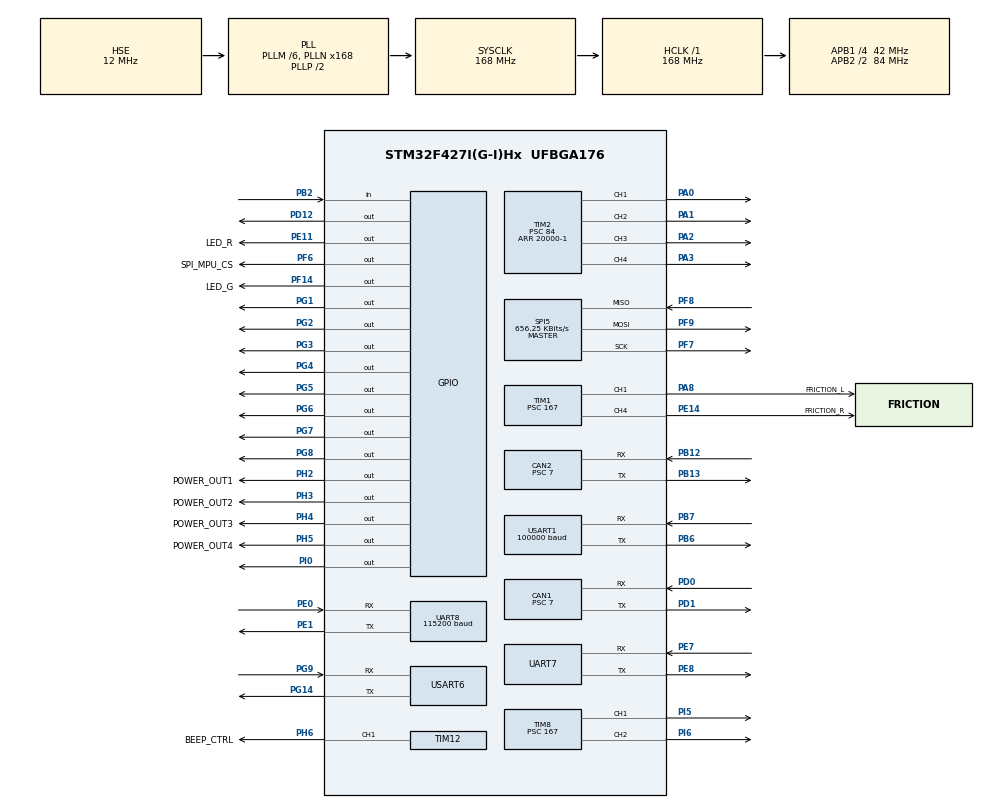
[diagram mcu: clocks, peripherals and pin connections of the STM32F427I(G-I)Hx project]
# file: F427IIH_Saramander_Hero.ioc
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CAN1.BS1=CAN_BS1_2TQ
CAN1.BS2=CAN_BS2_3TQ
CAN1.CalculateTimeQuantum=166.66666666666669
CAN1.Prescaler=7
CAN1.TXFP=ENABLE
CAN2.BS1=CAN_BS1_2TQ
CAN2.BS2=CAN_BS2_3TQ
CAN2.CalculateTimeQuantum=166.66666666666669
CAN2.Prescaler=7
CAN2.TXFP=ENABLE
Dma.Request0=USART6_RX
Dma.USART6_RX.0.Direction=DMA_PERIPH_TO_MEMORY
Dma.USART6_RX.0.FIFOMode=DMA_FIFOMODE_DISABLE
Dma.USART6_RX.0.Instance=DMA2_Stream1
Dma.USART6_RX.0.MemDataAlignment=DMA_MDATAALIGN_BYTE
Dma.USART6_RX.0.MemInc=DMA_MINC_ENABLE
Dma.USART6_RX.0.Mode=DMA_CIRCULAR
Dma.USART6_RX.0.PeriphDataAlignment=DMA_PDATAALIGN_BYTE
Dma.USART6_RX.0.PeriphInc=DMA_PINC_DISABLE
Dma.USART6_RX.0.Priority=DMA_PRIORITY_LOW
Mcu.Family=STM32F4
Mcu.Name=STM32F427I(G-I)Hx
Mcu.Package=UFBGA176
NVIC.CAN1_RX0_IRQn=true\:0\:0\:false\:false\:true\:true\:true
NVIC.CAN1_RX1_IRQn=true\:0\:0\:false\:false\:true\:true\:true
NVIC.CAN2_RX0_IRQn=true\:0\:0\:false\:false\:true\:true\:true
NVIC.CAN2_RX1_IRQn=true\:0\:0\:false\:false\:true\:true\:true
NVIC.DMA2_Stream1_IRQn=true\:0\:0\:false\:false\:true\:false\:true
NVIC.PriorityGroup=NVIC_PRIORITYGROUP_4
NVIC.TIM6_DAC_IRQn=true\:1\:0\:true\:false\:true\:true\:true
NVIC.USART1_IRQn=true\:0\:0\:false\:false\:true\:true\:true
NVIC.USART6_IRQn=true\:0\:0\:false\:false\:true\:true\:true
PA0/WKUP.Signal=S_TIM2_CH1_ETR
PA1.Signal=S_TIM2_CH2
PA13.Mode=Serial_Wire
PA13.Signal=SYS_JTMS-SWDIO
PA14.Mode=Serial_Wire
PA14.Signal=SYS_JTCK-SWCLK
PA2.Signal=S_TIM2_CH3
PA3.Signal=S_TIM2_CH4
PA8.GPIO_Label=FRICTION_L
PA8.Signal=S_TIM1_CH1
PB12.Mode=Slave
PB12.Signal=CAN2_RX
PB13.Mode=Slave
PB13.Signal=CAN2_TX
PB2/BOOT1.Signal=GPIO_Input
PB6.Mode=Asynchronous
PB6.Signal=USART1_TX
PB7.Mode=Asynchronous
PB7.Signal=USART1_RX
PD0.Mode=Master
PD0.Signal=CAN1_RX
PD1.Mode=Master
PD1.Signal=CAN1_TX
PD12.Signal=GPIO_Output
PE0.Mode=Asynchronous
PE0.Signal=UART8_RX
PE1.Mode=Asynchronous
PE1.Signal=UART8_TX
PE11.GPIO_Label=LED_R
PE11.Signal=GPIO_Output
PE14.GPIO_Label=FRICTION_R
PE14.Signal=S_TIM1_CH4
PE7.Mode=Asynchronous
PE7.Signal=UART7_RX
PE8.Mode=Asynchronous
PE8.Signal=UART7_TX
PF14.GPIO_Label=LED_G
PF14.Signal=GPIO_Output
PF6.GPIO_Label=SPI_MPU_CS
PF6.Signal=GPIO_Output
PF7.Mode=Full_Duplex_Master
PF7.Signal=SPI5_SCK
PF8.Mode=Full_Duplex_Master
PF8.Signal=SPI5_MISO
PF9.Mode=Full_Duplex_Master
PF9.Signal=SPI5_MOSI
PG1.Signal=GPIO_Output
PG14.Mode=Asynchronous
PG14.Signal=USART6_TX
PG2.Signal=GPIO_Output
PG3.Signal=GPIO_Output
PG4.Signal=GPIO_Output
PG5.Signal=GPIO_Output
PG6.Signal=GPIO_Output
PG7.Signal=GPIO_Output
PG8.Signal=GPIO_Output
PG9.Mode=Asynchronous
PG9.Signal=USART6_RX
PH0/OSC_IN.Mode=HSE-External-Oscillator
PH0/OSC_IN.Signal=RCC_OSC_IN
PH1/OSC_OUT.Mode=HSE-External-Oscillator
PH1/OSC_OUT.Signal=RCC_OSC_OUT
PH2.GPIO_Label=POWER_OUT1
PH2.Signal=GPIO_Output
PH3.GPIO_Label=POWER_OUT2
PH3.Signal=GPIO_Output
PH4.GPIO_Label=POWER_OUT3
PH4.Signal=GPIO_Output
PH5.GPIO_Label=POWER_OUT4
PH5.Signal=GPIO_Output
PH6.GPIO_Label=BEEP_CTRL
PH6.Signal=S_TIM12_CH1
PI0.Signal=GPIO_Output
PI5.Signal=S_TIM8_CH1
PI6.Signal=S_TIM8_CH2
ProjectManager.HeapSize=0x200
ProjectManager.StackSize=0x400
ProjectManager.TargetToolchain=STM32CubeIDE
RCC.48MHZClocksFreq_Value=84000000
RCC.AHBFreq_Value=168000000
RCC.APB1CLKDivider=RCC_HCLK_DIV4
RCC.APB1Freq_Value=42000000
RCC.APB1TimFreq_Value=84000000
RCC.APB2CLKDivider=RCC_HCLK_DIV2
RCC.APB2Freq_Value=84000000
RCC.APB2TimFreq_Value=168000000
RCC.CortexFreq_Value=168000000
RCC.HCLKFreq_Value=168000000
RCC.HSE_VALUE=12000000
RCC.HSI_VALUE=16000000
RCC.LSE_VALUE=32768
RCC.PLLM=6
RCC.PLLN=168
RCC.PLLSourceVirtual=RCC_PLLSOURCE_HSE
RCC.SYSCLKFreq_VALUE=168000000
RCC.SYSCLKSource=RCC_SYSCLKSOURCE_PLLCLK
RCC.VCOOutputFreq_Value=336000000
SH.S_TIM12_CH1.0=TIM12_CH1,PWM Generation1 CH1
SH.S_TIM1_CH1.0=TIM1_CH1,PWM Generation1 CH1
SH.S_TIM1_CH4.0=TIM1_CH4,PWM Generation4 CH4
SH.S_TIM2_CH1_ETR.0=TIM2_CH1,PWM Generation1 CH1
SH.S_TIM2_CH2.0=TIM2_CH2,PWM Generation2 CH2
SH.S_TIM2_CH3.0=TIM2_CH3,PWM Generation3 CH3
SH.S_TIM2_CH4.0=TIM2_CH4,PWM Generation4 CH4
SH.S_TIM8_CH1.0=TIM8_CH1,PWM Generation1 CH1
SH.S_TIM8_CH2.0=TIM8_CH2,PWM Generation2 CH2
SPI5.BaudRatePrescaler=SPI_BAUDRATEPRESCALER_128
SPI5.CalculateBaudRate=656.25 KBits/s
SPI5.Direction=SPI_DIRECTION_2LINES
SPI5.Mode=SPI_MODE_MASTER
SPI5.VirtualType=VM_MASTER
TIM1.Channel-PWM\ Generation1\ CH1=TIM_CHANNEL_1
TIM1.Channel-PWM\ Generation4\ CH4=TIM_CHANNEL_4
TIM1.Period=20000-1
TIM1.Prescaler=167
TIM1.Pulse-PWM\ Generation1\ CH1=1000
TIM1.Pulse-PWM\ Generation4\ CH4=1000
TIM12.Channel-PWM\ Generation1\ CH1=TIM_CHANNEL_1
TIM12.Period=20000-1
TIM12.Prescaler=83
TIM2.Channel-PWM\ Generation1\ CH1=TIM_CHANNEL_1
TIM2.Channel-PWM\ Generation2\ CH2=TIM_CHANNEL_2
TIM2.Channel-PWM\ Generation3\ CH3=TIM_CHANNEL_3
TIM2.Channel-PWM\ Generation4\ CH4=TIM_CHANNEL_4
TIM2.Period=20000-1
TIM2.Prescaler=84
TIM6.Period=16800
TIM6.Prescaler=5-1
TIM8.Channel-PWM\ Generation1\ CH1=TIM_CHANNEL_1
TIM8.Channel-PWM\ Generation2\ CH2=TIM_CHANNEL_2
TIM8.Period=20000-1
TIM8.Prescaler=167
UART7.VirtualMode=Asynchronous
UART8.BaudRate=115200
UART8.VirtualMode=Asynchronous
UART8.WordLength=WORDLENGTH_8B
USART1.BaudRate=100000
USART1.VirtualMode=VM_ASYNC
USART6.VirtualMode=VM_ASYNC
VP_TIM6_VS_ClockSourceINT.Mode=Enable_Timer
board=custom

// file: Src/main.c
/* USER CODE BEGIN Header */
/**
  ******************************************************************************
  * @file           : main.c
  * @brief          : Main program body
  ******************************************************************************
  * @attention
  *
  * <h2><center>&copy; Copyright (c) 2019 STMicroelectronics.
  * All rights reserved.</center></h2>
  *
  * This software component is licensed by ST under BSD 3-Clause license,
  * the "License"; You may not use this file except in compliance with the
  * License. You may obtain a copy of the License at:
  *                        opensource.org/licenses/BSD-3-Clause
  *
  ******************************************************************************
  */
/* USER CODE END Header */

#include "main.h"
#include "can.h"
#include "dma.h"
#include "spi.h"
#include "tim.h"
#include "usart.h"
#include "gpio.h"

/* USER CODE BEGIN Includes */
#include "managemet.h"
/* USER CODE END Includes */

/* USER CODE BEGIN PD */

const int yaw_MAX=70;
const int yaw_magnification=20;
const int pich_MAX=30;
const int pich_magnification=50;
/* USER CODE END PD */

/* USER CODE BEGIN PV */
/* Private variables ---------------------------------------------------------*/
#ifdef __GNUC__
#define PUTCHAR_PROTOTYPE int __io_putchar(int ch)
#else
#define PUTCHAR_PROTOTYPE int fputc(int ch, FILE *f)
#endif /* __GNUC__ */
void __io_putchar(uint8_t ch) {
HAL_UART_Transmit(&huart7, &ch, 1, 1);
}

/* USER CODE END PV */

void SystemClock_Config(void);
/* USER CODE BEGIN PFP */
/* Private function prototypes -----------------------------------------------*/
void timerTask();
void initPID();
void initMecanum();
void driveWheelTask();
void initFriction();
void initLoadPID();
void Gimbal_Task();
void fire_Task();
void fire_task_push();
void fire_task_open();
/* USER CODE END PFP */

/* USER CODE BEGIN 0 */
long map(long x, long in_min, long in_max, long out_min, long out_max) {
	  return (x - in_min) * (out_max - out_min) / (in_max - in_min) + out_min;
}
uint8_t cnt_tim,cnt_tim_fire,cnt_tim_task,fire,cnt_time_main;
uint16_t cnt_tim_omega,feed_forward_param;
uint16_t sw1_cnt=1220;
uint8_t rc_SW1_temp,rc_W_temp;
uint32_t RC_time,cnt_tim_fire_task;
uint8_t customdataPacket[28];
uint8_t data_data_form_JetsonNANO_temp;
uint16_t delay_auto;
const float yaw_offset = 60.0;
/* USER CODE END 0 */

int main(void)
{

  /* MCU Configuration--------------------------------------------------------*/

  /* Reset of all peripherals, Initializes the Flash interface and the Systick. */
  HAL_Init();

  /* Configure the system clock */
  SystemClock_Config();

  /* USER CODE BEGIN SysInit */

  //MX_UART7   UART_print
  //MX_UART8   Judge
  //MX_USART1  RC
  //MX_USART6  JetsonNANO
  /* USER CODE END SysInit */

  /* Initialize all configured peripherals */
  MX_GPIO_Init();
  MX_DMA_Init();
  MX_CAN1_Init();
  MX_CAN2_Init();
  MX_SPI5_Init();
  MX_TIM1_Init();
  MX_TIM6_Init();
  MX_TIM12_Init();
  MX_UART7_Init();
  MX_UART8_Init();
  MX_USART1_UART_Init();
  MX_USART6_UART_Init();
  MX_TIM2_Init();
  MX_TIM8_Init();
  /* USER CODE BEGIN 2 */
  HAL_UART_Receive_IT(&huart1, rcData, 18);
  HAL_UART_Receive_IT(&huart6,(uint8_t *)Rxbuf_form_JetsonNANO,Rxbufsize_from_JetsonNANO);
  HAL_GPIO_WritePin(GPIOE, GPIO_PIN_11, 0);
  HAL_GPIO_WritePin(LED_G_GPIO_Port, LED_G_Pin, 1);
  HAL_GPIO_WritePin(POWER_OUT1_GPIO_Port, POWER_OUT1_Pin, 1);
  HAL_GPIO_WritePin(POWER_OUT2_GPIO_Port, POWER_OUT2_Pin, 1);
  HAL_GPIO_WritePin(POWER_OUT3_GPIO_Port, POWER_OUT3_Pin, 1);
  HAL_GPIO_WritePin(POWER_OUT4_GPIO_Port, POWER_OUT4_Pin, 1);
  HAL_Delay(1000);
  HAL_GPIO_WritePin(GPIOG, GPIO_PIN_1, 1);
  HAL_GPIO_WritePin(GPIOG, GPIO_PIN_2, 1);
  HAL_GPIO_WritePin(GPIOG, GPIO_PIN_3, 1);
  HAL_GPIO_WritePin(GPIOG, GPIO_PIN_4, 1);
  HAL_GPIO_WritePin(GPIOG, GPIO_PIN_5, 1);
  HAL_GPIO_WritePin(GPIOG, GPIO_PIN_6, 1);
  HAL_GPIO_WritePin(GPIOG, GPIO_PIN_7, 1);
  HAL_GPIO_WritePin(GPIOG, GPIO_PIN_8, 1);
  HAL_GPIO_WritePin(GPIOD, GPIO_PIN_12, 0);
  sConfigOC.Pulse = map(90,0,180,500,2500);
  HAL_TIM_PWM_ConfigChannel(&htim2, &sConfigOC, TIM_CHANNEL_1);
  HAL_TIM_PWM_Start(&htim2, TIM_CHANNEL_1);
  sConfigOC.Pulse = map(90,0,180,500,2500);
  HAL_TIM_PWM_ConfigChannel(&htim2, &sConfigOC, TIM_CHANNEL_2);
  HAL_TIM_PWM_Start(&htim2, TIM_CHANNEL_2);
  sConfigOC.Pulse = map(139,0,180,500,2500);
  HAL_TIM_PWM_ConfigChannel(&htim2, &sConfigOC, TIM_CHANNEL_3);
  HAL_TIM_PWM_Start(&htim2, TIM_CHANNEL_3);
  sConfigOC.Pulse = map(139,0,180,500,2500);
  HAL_TIM_PWM_ConfigChannel(&htim2, &sConfigOC, TIM_CHANNEL_4);
  HAL_TIM_PWM_Start(&htim2, TIM_CHANNEL_4);

  mpu_device_init();
  mpu_offset_call();

  HAL_TIM_PWM_Start(&htim8, TIM_CHANNEL_1); // friction wheel
  HAL_TIM_PWM_Start(&htim8, TIM_CHANNEL_2);
  initFriction();
  initPID();
  initLoadPID();
  initCanFilter();
  initMecanum();
  HAL_TIM_Base_Start_IT(&htim6);
  setbuf(stdout, NULL);
  HAL_CAN_Start(&hcan1);
  HAL_CAN_Start(&hcan2);
  HAL_CAN_ActivateNotification(&hcan1, CAN_IT_RX_FIFO0_MSG_PENDING);
  HAL_CAN_ActivateNotification(&hcan2, CAN_IT_RX_FIFO0_MSG_PENDING);
  HAL_GPIO_WritePin(GPIOE, GPIO_PIN_11, 1);

  CustomData_init(11,0x0111);  //blue-1
  //CustomData_init(1,0x0101);  //red-1

  IMU_pich_set=imu_attitude.pitch;
  IMU_yaw_set=imu_attitude.yaw;
  IMU_rol_set=imu_attitude.roll;
  PC_mouse_x=0;
  PC_mouse_y=0;
  HAL_UART_Init(&huart6);

  /* USER CODE END 2 */

  /* Infinite loop */
  while (1)
  {

    /* USER CODE BEGIN 3 */

	  if(HAL_GPIO_ReadPin(GPIOB, GPIO_PIN_2)==1 || rc.sw1==2 || rc.key_Ctrl==1){
		  IMU_pich_set=imu_attitude.pitch;
		  IMU_yaw_set=imu_attitude.yaw;
		  IMU_rol_set=imu_attitude.roll;
	  }

	  //printf(" Roll:%8.3lf  Pitch:%8.3lf  Yaw:%8.3lf", IMU_rol, IMU_pich, IMU_yaw);
	   //printf(" Roll_set:%8.3lf  Pitch_set:%8.3lf  Yaw_set:%8.3lf", IMU_rol_set, IMU_pich_set, IMU_yaw_set);
	  printf(" target_Pitch:%d target_Yaw:%d now_Pit:%d now_Yaw:%d", target_pich,target_yaw,pich_now,yaw_now);
	   //printf(" RC_time=%d",(int)RC_time);
	   //printf("ch1=%d ch2=%d ch3=%d ch4=%d ch5=%d sw1=%d sw2=%d m_x=%d m_y=%d m_z=%d m_l=%d m_r=%d W=%d S=%d A=%d D=%d Q=%d E=%d Shift=%d Ctrl=%d"
	  //	 ,rc.ch1,rc.ch2,rc.ch3,rc.ch4,rc.ch5,rc.sw1,rc.sw2,rc.mouse_x, rc.mouse_y, rc.mouse_z,rc.mouse_press_l,rc.mouse_press_r
	//		 ,rc.key_W,rc.key_S,rc.key_A,rc.key_D,rc.key_Q,rc.key_E,rc.key_Shift,rc.key_Ctrl);
	  //printf("PC_mouse_x=%d PC_mouse_y=%d",PC_mouse_x,PC_mouse_y);
	  //printf("M0=%d M1=%d M2=%d M3=%d",wheelFdb[0].rpm,wheelFdb[1].rpm,wheelFdb[2].rpm,wheelFdb[3].rpm);
	  //printf(" ch5=%d vw=%f cnt=%d",rc.ch5,mecanum.speed.vw,cnt_tim_omega);
	  //printf(" target_yaw=%d angle=%f",target_yaw,(float)((gimbalYawFdb.angle-4096.0)/8191.0*360.0));
	  //printf("torque M0=%8.3lf M1=%8.3lf M2=%8.3lf M3=%8.3lf",(float)wheelFdb[0].torque/16384.0*20.0,(float)wheelFdb[1].torque/16384.0*20.0
	   // 			  ,(float)wheelFdb[2].torque/16384.0*20.0,(float)wheelFdb[3].torque/16384.0*20.0);
	   //printf(" =%d",(int)cnt_time_main);
	   printf(" X=%d Y=%d cnt=%d" ,target_X,target_Y,cnt_tartget);
	   printf(" 0=%x 1=%x 2=%x 3=%x 4=%d 5=%d" , data_form_JetsonNANO[0],data_form_JetsonNANO[1],data_form_JetsonNANO[2],data_form_JetsonNANO[3],data_form_JetsonNANO[4],data_form_JetsonNANO[5]);
	   printf("\r\n");

		if(cnt_time_main>=10){
		    setData1(IMU_pich);
		    setData2(IMU_yaw);
		    setData3((float)yaw_now);
		    	 if(yaw_now>=-75 && yaw_now<=-55){setMasks(0b011111);}
		    else if(yaw_now>=-55 && yaw_now<=-45){setMasks(0b001111);}
		    else if(yaw_now>=-45 && yaw_now<=-35){setMasks(0b101111);}
		    else if(yaw_now>=-35 && yaw_now<=-20){setMasks(0b100111);}
		    else if(yaw_now>=-20 && yaw_now<=-10){setMasks(0b110111);}
		    else if(yaw_now>=-10 && yaw_now<= 10){setMasks(0b110011);}
		    else if(yaw_now>= 10 && yaw_now<= 20){setMasks(0b111011);}
		    else if(yaw_now>= 20 && yaw_now<= 35){setMasks(0b111001);}
		    else if(yaw_now>= 35 && yaw_now<= 45){setMasks(0b111101);}
		    else if(yaw_now>= 45 && yaw_now<= 55){setMasks(0b111100);}
		    else if(yaw_now>= 55 && yaw_now<= 75){setMasks(0b111110);}
		    else  								 {setMasks(0b000000);}
		    makeCustomDataPacket(customdataPacket);
		    HAL_UART_Transmit(&huart8, (uint8_t *)customdataPacket, 28,100);
			cnt_time_main=0;
		}
		else{
			cnt_time_main++;
		}

		target_X=((data_form_JetsonNANO[0]<<8) | data_form_JetsonNANO[1])- 32767;
		target_Y=((data_form_JetsonNANO[2]<<8) | data_form_JetsonNANO[3])- 32767;
		cnt_tartget=data_form_JetsonNANO[4];

  }
  /* USER CODE END 3 */
}

void SystemClock_Config(void)
{
  RCC_OscInitTypeDef RCC_OscInitStruct = {0};
  RCC_ClkInitTypeDef RCC_ClkInitStruct = {0};

  /** Configure the main internal regulator output voltage
  */
  __HAL_RCC_PWR_CLK_ENABLE();
  __HAL_PWR_VOLTAGESCALING_CONFIG(PWR_REGULATOR_VOLTAGE_SCALE1);
  /** Initializes the CPU, AHB and APB busses clocks
  */
  RCC_OscInitStruct.OscillatorType = RCC_OSCILLATORTYPE_HSE;
  RCC_OscInitStruct.HSEState = RCC_HSE_ON;
  RCC_OscInitStruct.PLL.PLLState = RCC_PLL_ON;
  RCC_OscInitStruct.PLL.PLLSource = RCC_PLLSOURCE_HSE;
  RCC_OscInitStruct.PLL.PLLM = 6;
  RCC_OscInitStruct.PLL.PLLN = 168;
  RCC_OscInitStruct.PLL.PLLP = RCC_PLLP_DIV2;
  RCC_OscInitStruct.PLL.PLLQ = 4;
  if (HAL_RCC_OscConfig(&RCC_OscInitStruct) != HAL_OK)
  {
    Error_Handler();
  }
  /** Initializes the CPU, AHB and APB busses clocks
  */
  RCC_ClkInitStruct.ClockType = RCC_CLOCKTYPE_HCLK|RCC_CLOCKTYPE_SYSCLK
                              |RCC_CLOCKTYPE_PCLK1|RCC_CLOCKTYPE_PCLK2;
  RCC_ClkInitStruct.SYSCLKSource = RCC_SYSCLKSOURCE_PLLCLK;
  RCC_ClkInitStruct.AHBCLKDivider = RCC_SYSCLK_DIV1;
  RCC_ClkInitStruct.APB1CLKDivider = RCC_HCLK_DIV4;
  RCC_ClkInitStruct.APB2CLKDivider = RCC_HCLK_DIV2;

  if (HAL_RCC_ClockConfig(&RCC_ClkInitStruct, FLASH_LATENCY_5) != HAL_OK)
  {
    Error_Handler();
  }
}

/* USER CODE BEGIN 4 */
void HAL_TIM_PeriodElapsedCallback(TIM_HandleTypeDef *htim) {
	if (htim->Instance == htim6.Instance) {
		//1kHz
		mpu_get_data();
		imu_sensor.ax=imu.ax;
		imu_sensor.ay=imu.ay;
		imu_sensor.az=imu.az;
		imu_sensor.mx=imu.mx;
		imu_sensor.my=imu.my;
		imu_sensor.mz=imu.mz;
		imu_sensor.wx=imu.wx;
		imu_sensor.wy=imu.wy;
		imu_sensor.wz=imu.wz;
		madgwick_ahrs_updateIMU(&imu_sensor, &imu_attitude);

		IMU_pich=(imu_attitude.pitch)-IMU_pich_set;
		if(IMU_pich>  90.0){IMU_pich=IMU_pich-180;}
		if(IMU_pich< -90.0){IMU_pich=IMU_pich+180;}
		IMU_yaw=(imu_attitude.yaw)-IMU_yaw_set;
		if(IMU_yaw>  180.0){IMU_yaw=IMU_yaw-360;}
		if(IMU_yaw< -180.0){IMU_yaw=IMU_yaw+360;}
		IMU_rol=(imu_attitude.roll)-IMU_rol_set;
		if(IMU_rol>  180.0){IMU_rol=IMU_rol-360;}
		if(IMU_rol< -180.0){IMU_rol=IMU_rol+360;}

		if(cnt_tim_task>1){
		//500Hz
		timerTask();
		cnt_tim_task=0;
		}
		cnt_tim_task++;

		if(cnt_tim>40){
			HAL_GPIO_TogglePin(LED_G_GPIO_Port, LED_G_Pin);
			cnt_tim=0;
		}
		cnt_tim++;

		RC_time++;
		if(RC_time>20000){
			NVIC_SystemReset();
		}
	}
}

void HAL_UART_RxCpltCallback(UART_HandleTypeDef *UartHandle) {
	if (UartHandle->Instance == huart1.Instance) {	//Propo-receive Interrupts
		HAL_UART_Receive_IT(&huart1, rcData, 18);
		HAL_GPIO_TogglePin(GPIOG,GPIO_PIN_1);
		rc.ch1 = (((rcData[1] & 0x07) << 8) | rcData[0]);
		rc.ch1 -= 1024;
		rc.ch2 = (((rcData[2] & 0x3F) << 5) | (rcData[1] >> 3));
		rc.ch2 -= 1024;
		rc.ch3 = (((rcData[4] & 0x01) << 10) | (rcData[3] << 2) | (rcData[2] >> 6));
		rc.ch3 -= 1024;
		rc.ch4 = (((rcData[5] & 0x0F) << 7) | (rcData[4] >> 1));
		rc.ch4 -= 1024;
		rc.ch5 = (rcData[17]<<8) | rcData[16];
		rc.ch5 = 1024-rc.ch5;
		rc.sw1 = ((rcData[5] & 0x30) >> 4);
		rc.sw2 = ((rcData[5] & 0xC0) >> 6);
		rc.mouse_x = ((int16_t)rcData[6]) | ((int16_t)rcData[7] << 8);
		rc.mouse_y = ((int16_t)rcData[8]) | ((int16_t)rcData[9] << 8);
		rc.mouse_z = ((int16_t)rcData[10]) | ((int16_t)rcData[11] << 8);
		rc.mouse_press_r = rcData[12];
		rc.mouse_press_l = rcData[13];
		rc.key_v = ((int16_t)rcData[14]);
		rc.key_W =     (0b0000000000000001 & rc.key_v);
		rc.key_S =     (0b0000000000000010 & rc.key_v)>>1;
		rc.key_A =     (0b0000000000000100 & rc.key_v)>>2;
		rc.key_D =     (0b0000000000001000 & rc.key_v)>>3;
		rc.key_Shift = (0b0000000000010000 & rc.key_v)>>4;
		rc.key_Ctrl =  (0b0000000000100000 & rc.key_v)>>5;
		rc.key_Q =     (0b0000000001000000 & rc.key_v)>>6;
		rc.key_E =     (0b0000000010000000 & rc.key_v)>>7;

		if ((abs(rc.ch5) > 660) ||(abs(rc.ch3) > 660) ||(abs(rc.ch4) > 660)){
			NVIC_SystemReset();
		  }
		else{
			 RC_time=0;
		}

		if(rc.sw2==2|| rc.key_E==1){
			PC_mouse_x=0;
			PC_mouse_y=0;
		}
		else{
			if(rc.mouse_press_l==1){
			PC_mouse_x=PC_mouse_x+rc.mouse_x*(-1);
			PC_mouse_y=PC_mouse_y+rc.mouse_y;
			if(PC_mouse_y > pich_MAX*pich_magnification){	PC_mouse_y = pich_MAX*pich_magnification;}
			if(PC_mouse_y < -1*pich_MAX*pich_magnification){PC_mouse_y = -1*pich_MAX*pich_magnification;}
			if(PC_mouse_x > yaw_MAX*yaw_magnification){		PC_mouse_x = yaw_MAX*yaw_magnification;}
			if(PC_mouse_x < -1*yaw_MAX*yaw_magnification){	PC_mouse_x = -1*yaw_MAX*yaw_magnification;}
			}
		}

	}

	if (UartHandle->Instance == huart6.Instance) {
		uint8_t j = 0;
			while (Rxbuf_form_JetsonNANO[j] != 253 &&  j<sizeof(Rxbuf_form_JetsonNANO)) {
				j++;
			}
			if(j>=sizeof(Rxbuf_form_JetsonNANO)){
				for(uint8_t k=0;k<(sizeof(data_form_JetsonNANO));k++){
					data_form_JetsonNANO[k]=0;
				}
			}
			else{
				for (uint8_t k = 0; k < sizeof(data_form_JetsonNANO); k++) {
					if ((j + k) >= sizeof(data_form_JetsonNANO)) {
						data_form_JetsonNANO[k] = Rxbuf_form_JetsonNANO[k - (sizeof(data_form_JetsonNANO) - j)];
					}
					else {
						data_form_JetsonNANO[k] = Rxbuf_form_JetsonNANO[j + k + 1];
					}
				}
			}
			if(data_data_form_JetsonNANO_temp!=data_form_JetsonNANO[Rxbufsize_from_JetsonNANO-2]){
				connect_jetsonnano=1;
				HAL_GPIO_WritePin(GPIOG, GPIO_PIN_2, 1);
			}
			else{
				connect_jetsonnano=0;
				HAL_GPIO_WritePin(GPIOG, GPIO_PIN_2, 0);
				for(uint8_t k=0;k<(sizeof(data_form_JetsonNANO));k++){
					data_form_JetsonNANO[k]=0;
				}
			}
			data_data_form_JetsonNANO_temp=data_form_JetsonNANO[Rxbufsize_from_JetsonNANO-2];
	}

	HAL_UART_Receive_IT(&huart6,(uint8_t *)Rxbuf_form_JetsonNANO,Rxbufsize_from_JetsonNANO);
}

//can fifo0 receive interrupt
void HAL_CAN_RxFifo0MsgPendingCallback(CAN_HandleTypeDef *hcan) {
	/* Get RX message */
	if (hcan->Instance == hcan2.Instance) {// can2 bus receive interrupt
		HAL_CAN_GetRxMessage(hcan, CAN_RX_FIFO0, &canRxHeader, canRxData);
		//check ESC identifier
		int id = canRxHeader.StdId - 513;

		wheelFdb[id].angle = canRxData[0] * 256 + canRxData[1];
		wheelFdb[id].rpm = canRxData[2] * 256 + canRxData[3];
		wheelFdb[id].torque = canRxData[4] * 256 + canRxData[5];
		wheelFdb[id].temp = canRxData[6];
		wheelFdb[id].omg = 6.28318530718 * (wheelFdb[id].rpm) / 1140.0;
	}
	if (hcan->Instance == hcan1.Instance) {// can1 bus receive interrupt
		HAL_CAN_GetRxMessage(hcan, CAN_RX_FIFO0, &canRxHeader, canRxData);
		motor_fdb *fdb = 0;
		switch (canRxHeader.StdId) {
		case 0x205:
			fdb = &gimbalYawFdb;
			break;
		case 0x206:
			fdb = &gimbalPitchFdb;
			break;
		case 0x207:
			fdb = &loadMotorFdb;
			break;
		}
		fdb->angle = canRxData[0] * 256 + canRxData[1];
		fdb->rpm = canRxData[2] * 256 + canRxData[3];
		fdb->torque = canRxData[4] * 256 + canRxData[5];
		fdb->temp = canRxData[6];
		fdb->omg = 6.28318530718 * (fdb->rpm) / 1140.0;
	}
}

void driveWheelTask() {
	float vx_temp,vy_temp;
    float MAX_CHASSIS_VX_SPEED_calc,MAX_CHASSIS_VY_SPEED_calc,MAX_CHASSIS_VW_SPEED_calc;
	float torque_sum=0.0;

	MAX_CHASSIS_VX_SPEED_calc= MAX_CHASSIS_VX_SPEED;
	MAX_CHASSIS_VY_SPEED_calc= MAX_CHASSIS_VY_SPEED;
    MAX_CHASSIS_VW_SPEED_calc= MAX_CHASSIS_VW_SPEED;

    torque_sum = fabs((float)wheelFdb[0].torque/16384.0*20.0)+fabs((float)wheelFdb[1].torque/16384.0*20.0)
    		    +fabs((float)wheelFdb[2].torque/16384.0*20.0)+fabs((float)wheelFdb[3].torque/16384.0*20.0);

	if(rc.sw2==1|| rc.key_W==1){
		if(cnt_tim_omega<=100)     {mecanum.speed.vw= -(float)(rc.ch5-290.0)/660.0*MAX_CHASSIS_VW_SPEED;feed_forward_param=-0;}
		else if(cnt_tim_omega<=200){mecanum.speed.vw= -(float)(rc.ch5-260.0)/660.0*MAX_CHASSIS_VW_SPEED;feed_forward_param=-0;}
		else if(cnt_tim_omega<=249){mecanum.speed.vw= -(float)(rc.ch5-100.0)/660.0*MAX_CHASSIS_VW_SPEED;feed_forward_param=-0;}
		else if(cnt_tim_omega==250){mecanum.speed.vw= -(float)(rc.ch5-  0.0)/660.0*MAX_CHASSIS_VW_SPEED;feed_forward_param= 0;}
		else if(cnt_tim_omega<=300){mecanum.speed.vw= -(float)(rc.ch5+100.0)/660.0*MAX_CHASSIS_VW_SPEED;feed_forward_param= 0;}
		else if(cnt_tim_omega<=400){mecanum.speed.vw= -(float)(rc.ch5+260.0)/660.0*MAX_CHASSIS_VW_SPEED;feed_forward_param= 0;}
		else if(cnt_tim_omega<=500){mecanum.speed.vw= -(float)(rc.ch5+290.0)/660.0*MAX_CHASSIS_VW_SPEED;feed_forward_param= 0;}
		else if(cnt_tim_omega<=600){mecanum.speed.vw= -(float)(rc.ch5+290.0)/660.0*MAX_CHASSIS_VW_SPEED;feed_forward_param= 0;}
		else if(cnt_tim_omega<=700){mecanum.speed.vw= -(float)(rc.ch5+260.0)/660.0*MAX_CHASSIS_VW_SPEED;feed_forward_param= 0;}
		else if(cnt_tim_omega<=749){mecanum.speed.vw= -(float)(rc.ch5+100.0)/660.0*MAX_CHASSIS_VW_SPEED;feed_forward_param= 0;}
		else if(cnt_tim_omega==750){mecanum.speed.vw= -(float)(rc.ch5+  0.0)/660.0*MAX_CHASSIS_VW_SPEED;feed_forward_param= 0;}
		else if(cnt_tim_omega<=800){mecanum.speed.vw= -(float)(rc.ch5-100.0)/660.0*MAX_CHASSIS_VW_SPEED;feed_forward_param=-0;}
		else if(cnt_tim_omega<=900){mecanum.speed.vw= -(float)(rc.ch5-260.0)/660.0*MAX_CHASSIS_VW_SPEED;feed_forward_param=-0;}
		else if(cnt_tim_omega<=1000){mecanum.speed.vw=-(float)(rc.ch5-290.0)/660.0*MAX_CHASSIS_VW_SPEED;feed_forward_param=-0;}
		cnt_tim_omega++;
		if(cnt_tim_omega>1000){cnt_tim_omega=0;}

		vx_temp =  (float) rc.ch4 / 660.0 * MAX_CHASSIS_VX_SPEED_calc*0.7;
		vy_temp = -(float) rc.ch3 / 660.0 * MAX_CHASSIS_VY_SPEED_calc*0.7;

		mecanum.speed.vx = vx_temp*cos((IMU_yaw+feed_forward_param)*M_PI/180.0)
								- vy_temp*sin((IMU_yaw+feed_forward_param)*M_PI/180.0);
		mecanum.speed.vy = vx_temp*sin((IMU_yaw+feed_forward_param)*M_PI/180.0)
								+ vy_temp*cos((IMU_yaw+feed_forward_param)*M_PI/180.0);
	}
	else{
		cnt_tim_omega=0;
		feed_forward_param=0;
		//mecanum.speed.vw = -(float)rc.ch5 / 660.0 * MAX_CHASSIS_VW_SPEED_calc;
		mecanum.speed.vw = -(float)(rc.ch5*log(abs(rc.ch5)+1.0)*0.153) / 660.0 * MAX_CHASSIS_VW_SPEED_calc;
		mecanum.speed.vx =  (float)(rc.ch4*log(abs(rc.ch4)+1.0)*0.153)/ 660.0 * MAX_CHASSIS_VX_SPEED_calc;
		mecanum.speed.vy = -(float)(rc.ch3*log(abs(rc.ch3)+1.0)*0.153)/ 660.0 * MAX_CHASSIS_VY_SPEED_calc;

	}
	mecanum_calculate(&mecanum);

	int16_t u[4];
	for (int i = 0; i < 4; i++) {
		int error = mecanum.wheel_rpm[i] - wheelFdb[i].rpm;
		wheelPID[i].error = error;
		u[i] = (int16_t) pidExecute(&(wheelPID[i]));

		if(torque_sum>4.5){
			for (int i = 0; i < 4; i++) {
				u[i] = 0;
			}
		}
	}
	driveWheel(u);

}

void initMecanum() {
	mecanum.param.wheel_perimeter = PERIMETER;
	mecanum.param.wheeltrack = WHEELTRACK;
	mecanum.param.wheelbase = WHEELBASE;
	mecanum.param.rotate_x_offset = 0;
	mecanum.param.rotate_y_offset = 0;
}

void initFriction() {
	for(int i=0;i<2000;i++){
	__HAL_TIM_SET_COMPARE(&htim8, TIM_CHANNEL_1, 2000);
	__HAL_TIM_SET_COMPARE(&htim8, TIM_CHANNEL_2, 2000);
	mpu_get_data();
	imu_sensor.ax=imu.ax;
	imu_sensor.ay=imu.ay;
	imu_sensor.az=imu.az;
	imu_sensor.mx=imu.mx;
	imu_sensor.my=imu.my;
	imu_sensor.mz=imu.mz;
	imu_sensor.wx=imu.wx;
	imu_sensor.wy=imu.wy;
	imu_sensor.wz=imu.wz;
	madgwick_ahrs_updateIMU(&imu_sensor, &imu_attitude);
	HAL_Delay(1);
	}
	for(int i=0;i<2300;i++){
	__HAL_TIM_SET_COMPARE(&htim8, TIM_CHANNEL_1, 1500);
	__HAL_TIM_SET_COMPARE(&htim8, TIM_CHANNEL_2, 1500);
	mpu_get_data();
	imu_sensor.ax=imu.ax;
	imu_sensor.ay=imu.ay;
	imu_sensor.az=imu.az;
	imu_sensor.mx=imu.mx;
	imu_sensor.my=imu.my;
	imu_sensor.mz=imu.mz;
	imu_sensor.wx=imu.wx;
	imu_sensor.wy=imu.wy;
	imu_sensor.wz=imu.wz;
	madgwick_ahrs_updateIMU(&imu_sensor, &imu_attitude);
	HAL_Delay(1);
	}

}

void initPID() {
	for (int i = 0; i < 4; i++) {
		wheelPID[i].t = 2.0f;
		wheelPID[i].p = 3.0f;
		wheelPID[i].i = 30.0f;
		wheelPID[i].d = 0.0f;
		wheelPID[i].outLimit = 15000.0f;
		wheelPID[i].integralOutLimit = 500.0f;
		wheelPID[i].differentialFilterRate = 0.9f;
	}
}

void initLoadPID() {
	loadPID.t = 2.0f;
	loadPID.p = 10.0f;
	loadPID.i = 0.1f*500;
	loadPID.d = 0.07f;
	loadPID.outLimit = 30000.0f;
	loadPID.integralOutLimit = 10000.0f;
	loadPID.differentialFilterRate = 0.9f;
}

void timerTask() { //call 500Hz
	driveWheelTask();
	Gimbal_Task();
	fire_Task();
	fire_task_open();
}

void Gimbal_Task(){
	int16_t u[4];
	if (rc.mouse_press_r == 1 ||  rc.ch2==660) {
		fire=1;
	}
	fire_task_push();

	if(rc.sw2==2|| rc.key_E==1){target_yaw=0;}
	else{
		if(rc.sw2==1|| rc.key_W==1){
			if(rc_SW1_temp==3 && rc.sw2==1){IMU_yaw_set=imu_attitude.yaw;}
			if(rc_W_temp==0 &&  rc.key_W==1){IMU_yaw_set=imu_attitude.yaw;}
			if(rc.key_S==1 ||  rc.ch1==660){
				//Automatic aiming software
				if(delay_auto>25){
				if(cnt_tartget>0){
					target_yaw =target_yaw+map(target_X,-480,480,30,-30)-IMU_yaw+feed_forward_param;
				}
				else{
					target_yaw =target_yaw-IMU_yaw+feed_forward_param;
				}
				}
			}
			else{
				target_yaw =((float)PC_mouse_x / yaw_magnification)-IMU_yaw+feed_forward_param;
			}
		if(target_yaw>70){target_yaw=70;}
		if(target_yaw<-70){target_yaw=-70;}
		}
		else{
			if(rc.key_S==1 ||  rc.ch1==660){
				//Automatic aiming software
				if(cnt_tartget>0){
					if(delay_auto>25){
						target_yaw =target_yaw+map(target_X,-480,480,30,-30);
				}
				}
			}
			else{
				target_yaw=(float)PC_mouse_x / yaw_magnification;
			}
			if(target_yaw>70){target_yaw=70;}
			if(target_yaw<-70){target_yaw=-70;}
		}
	}
	yaw_now=((float)((gimbalYawFdb.angle-4096.0)/8191.0*360.0))+yaw_offset;
	if(yaw_now>360){yaw_now=yaw_now-360;}

	if((target_yaw-yaw_now)>50){u[0]=30000;}
	else if((target_yaw-yaw_now)<-50){u[0]=-30000;}
	else{
		u[0]=map(target_yaw-yaw_now, -50, 50, -30000, 30000)-(gimbalYawFdb.rpm*60.0);
		if(u[0]>30000){u[0]=30000;}
		if(u[0]<-30000){u[0]=-30000;}
	}

	if(rc.sw2==2|| rc.key_E==1){target_pich=0;}
	else{
		if(rc.key_S==1  ||  rc.ch1==660){
			//Automatic aiming software
			if(cnt_tartget>0){
				if(delay_auto>25){
						target_pich =target_pich+map(target_Y,-360,360,30,-30);

				delay_auto=0;
				}
				delay_auto++;
			}
		}
		else{
			delay_auto=0;
			target_pich=((float)PC_mouse_y / pich_magnification)-IMU_pich;
		}
		if(target_pich>=19){target_pich=19;}
		if(target_pich<-22){target_pich=-22;}
	}
	pich_now=(float)((gimbalPitchFdb.angle-4096.0)/8191.0*360.0);

	if((pich_now+IMU_pich)>-4){HAL_GPIO_WritePin(GPIOD, GPIO_PIN_12, 1);}
	else{HAL_GPIO_WritePin(GPIOD, GPIO_PIN_12, 0);}

	if((target_pich-pich_now)>19){u[1]=30000;}
	else if((target_pich-pich_now)<-19){u[1]=-30000;}
	else{
		u[1]=map(target_pich-pich_now, -19, 19, -30000, 30000)-(gimbalPitchFdb.rpm*60.0);//param is not yet
		if(u[1]>30000){u[1]=30000;}
		if(u[1]<-30000){u[1]=-30000;}
	}

	u[3]=0;
	driveGimbalMotors(u);
	rc_SW1_temp=rc.sw2;
	rc_W_temp=rc.key_W;
}

void fire_task_push(){
	if(fire==1){
	if(cnt_tim_fire_task>0 && cnt_tim_fire_task<=110){
		sConfigOC.Pulse = map(130,0,180,500,2500);
		HAL_TIM_PWM_ConfigChannel(&htim2, &sConfigOC, TIM_CHANNEL_1);
		HAL_TIM_PWM_Start(&htim2, TIM_CHANNEL_1);
	}
	else if(cnt_tim_fire_task>110 && cnt_tim_fire_task<=410){
		sConfigOC.Pulse = map(70,0,180,500,2500);
		HAL_TIM_PWM_ConfigChannel(&htim2, &sConfigOC, TIM_CHANNEL_1);
		HAL_TIM_PWM_Start(&htim2, TIM_CHANNEL_1);
	}
	else if(cnt_tim_fire_task>410 && cnt_tim_fire_task<=500){
		sConfigOC.Pulse = map(90,0,180,500,2500);
		HAL_TIM_PWM_ConfigChannel(&htim2, &sConfigOC, TIM_CHANNEL_1);
		HAL_TIM_PWM_Start(&htim2, TIM_CHANNEL_1);
	}
	else{
		sConfigOC.Pulse = map(90,0,180,500,2500);
		HAL_TIM_PWM_ConfigChannel(&htim2, &sConfigOC, TIM_CHANNEL_1);
		HAL_TIM_PWM_Start(&htim2, TIM_CHANNEL_1);
	}

	cnt_tim_fire_task++;
	if(cnt_tim_fire_task>500){
		cnt_tim_fire_task=0;
		fire=0;
	}
	}
}

void fire_Task(){
	if(rc.sw1==1){
		__HAL_TIM_SET_COMPARE(&htim8, TIM_CHANNEL_1, sw1_cnt);
		__HAL_TIM_SET_COMPARE(&htim8, TIM_CHANNEL_2, sw1_cnt);
		//max 2000
		if(sw1_cnt>=1600){
			sw1_cnt=1600;
		}
		else{sw1_cnt++;}
	}
	else{
		sw1_cnt=1500;
		__HAL_TIM_SET_COMPARE(&htim8, TIM_CHANNEL_1, sw1_cnt);
		__HAL_TIM_SET_COMPARE(&htim8, TIM_CHANNEL_2, sw1_cnt);
	}
}

void fire_task_open(){
	if(rc.key_Shift==1){
		sConfigOC.Pulse = map(50,0,180,500,2500);
		HAL_TIM_PWM_ConfigChannel(&htim2, &sConfigOC, TIM_CHANNEL_3);
		HAL_TIM_PWM_Start(&htim2, TIM_CHANNEL_3);

		sConfigOC.Pulse = map(50,0,180,500,2500);
		HAL_TIM_PWM_ConfigChannel(&htim2, &sConfigOC, TIM_CHANNEL_4);
		HAL_TIM_PWM_Start(&htim2, TIM_CHANNEL_4);
	}
	else{
		sConfigOC.Pulse = map(139,0,180,500,2500);
		HAL_TIM_PWM_ConfigChannel(&htim2, &sConfigOC, TIM_CHANNEL_3);
		HAL_TIM_PWM_Start(&htim2, TIM_CHANNEL_3);

		sConfigOC.Pulse = map(139,0,180,500,2500);
		HAL_TIM_PWM_ConfigChannel(&htim2, &sConfigOC, TIM_CHANNEL_4);
		HAL_TIM_PWM_Start(&htim2, TIM_CHANNEL_4);
	}
}

/* USER CODE END 4 */

void Error_Handler(void)
{
  while(1)
  {
  }
}

/************************ (C) COPYRIGHT STMicroelectronics *****END OF FILE****/
